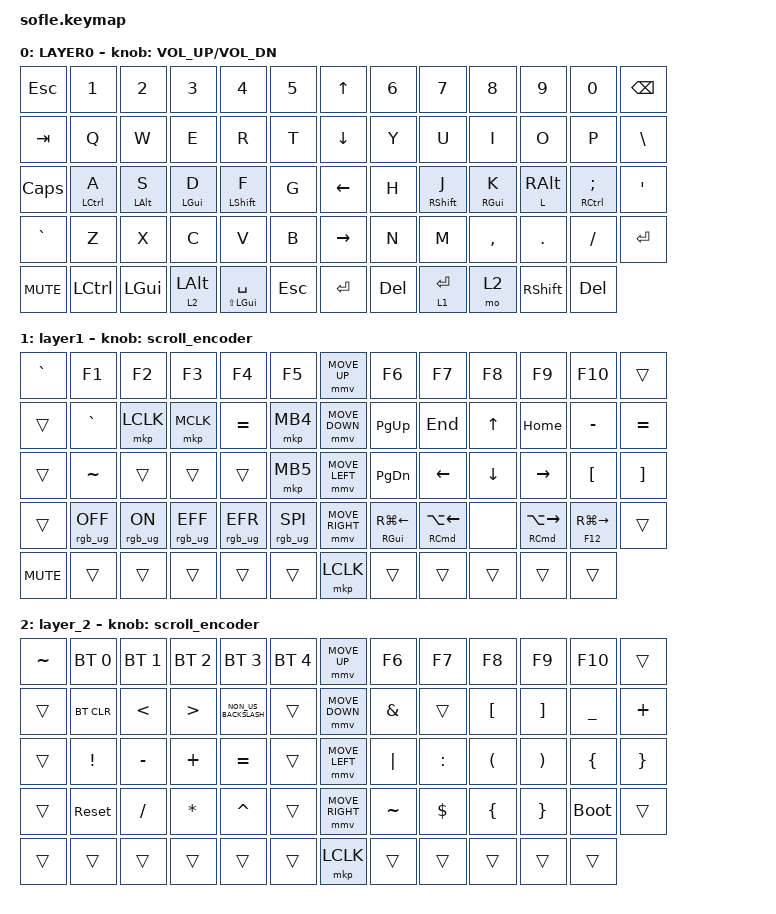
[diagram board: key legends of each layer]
#include <behaviors/mouse_keys.dtsi>
#include <behaviors.dtsi>
#include <dt-bindings/zmk/bt.h>
#include <dt-bindings/zmk/keys.h>
#include <dt-bindings/zmk/mouse.h>
#include <dt-bindings/zmk/rgb.h>

#define ZMK_MOUSE_DEFAULT_MOVE_VAL 1200  // 600
#define ZMK_MOUSE_DEFAULT_SCRL_VAL 20    // 10
#define U_MS_U &mmv MOVE_UP
#define U_MS_D &mmv MOVE_DOWN
#define U_MS_L &mmv MOVE_LEFT
#define U_MS_R &mmv MOVE_RIGHT
#define ZMK_MOUSE_DEFAULT_MOVE_VAL 1200  //  600
#define ZMK_MOUSE_DEFAULT_SCRL_VAL 20    // 10

/ {
    behaviors {
        mmv {
            acceleration-exponent = <1>;      // 1
            time-to-max-speed-ms = <900>;    // 40
            delay-ms = <0>;                   // 0
        };

        msc {
            acceleration-exponent = <1>;      // 0
            time-to-max-speed-ms = <400>;      // 500
            delay-ms = <0>;                   //   10
        };
    };

    scroll_encoder: scroll_encoder {
        compatible = "zmk,behavior-sensor-rotate";
        #sensor-binding-cells = <0>;
        bindings = <&msc SCRL_DOWN>, <&msc SCRL_UP>;

        tap-ms = <30>;
    };

    keymap {
        compatible = "zmk,keymap";

        layer0 {
            bindings = <
&kp ESC     &kp N1       &kp N2          &kp N3          &kp N4                  &kp N5        &kp UP_ARROW     &kp N6   &kp N7             &kp N8           &kp N9           &kp N0          &kp BACKSPACE
&kp TAB     &kp Q        &kp W           &kp E           &kp R                   &kp T         &kp DOWN_ARROW   &kp Y    &kp U              &kp I            &kp O            &kp P           &kp BSLH
&kp CAPS    &mt LCTRL A  &mt LEFT_ALT S  &mt LEFT_GUI D  &mt LEFT_SHIFT F        &kp G         &kp LEFT_ARROW   &kp H    &mt RIGHT_SHIFT J  &mt RIGHT_GUI K  &mt L RIGHT_ALT  &mt RCTRL SEMI  &kp APOS
&kp GRAVE   &kp Z        &kp X           &kp C           &kp V                   &kp B         &kp RIGHT_ARROW  &kp N    &kp M              &kp COMMA        &kp DOT          &kp FSLH        &kp ENTER
&kp C_MUTE  &kp LCTRL    &kp LEFT_GUI    &lt 2 LEFT_ALT  &mt LS(LEFT_GUI) SPACE  &kp ESCAPE    &kp ENTER        &kp DEL  &lt 1 ENTER        &mo 2            &kp RIGHT_SHIFT  &kp DELETE
            >;

            sensor-bindings = <&inc_dec_kp C_VOLUME_UP C_VOL_DN>;
            display-name = "LAYER0";
        };

        layer_1 {
            bindings = <
&kp GRAVE   &kp F1           &kp F2          &kp F3           &kp F4           &kp F5             &mmv MOVE_UP     &kp F6                  &kp F7                      &kp F8    &kp F9                       &kp F10            &trans
&trans      &kp GRAVE        &mkp LCLK       &mkp MCLK        &kp EQUAL        &mkp MB4           &mmv MOVE_DOWN   &kp PG_UP               &kp END                     &kp UP    &kp HOME                     &kp MINUS          &kp EQUAL
&trans      &kp TILDE        &trans          &trans           &trans           &mkp MB5           &mmv MOVE_LEFT   &kp PG_DN               &kp LEFT                    &kp DOWN  &kp RIGHT                    &kp LEFT_BRACKET   &kp RIGHT_BRACKET
&trans      &rgb_ug RGB_OFF  &rgb_ug RGB_ON  &rgb_ug RGB_EFF  &rgb_ug RGB_EFR  &rgb_ug RGB_SPI    &mmv MOVE_RIGHT  &mt RIGHT_GUI RG(LEFT)  &mt RIGHT_COMMAND LA(LEFT)  &none     &mt RIGHT_COMMAND LA(RIGHT)  &mt F12 RG(RIGHT)  &trans
&kp C_MUTE  &trans           &trans          &trans           &trans           &trans             &mkp LCLK        &trans                  &trans                      &trans    &trans                       &trans
            >;

            display-name = "layer1";
            sensor-bindings = <&scroll_encoder>;
        };

        layer_2 {
            bindings = <
&kp TILDE  &bt BT_SEL 0     &bt BT_SEL 1   &bt BT_SEL 2      &bt BT_SEL 3          &bt BT_SEL 4    &mmv MOVE_UP     &kp F6         &kp F7      &kp F8                &kp F9                 &kp F10      &trans
&trans     &bt BT_CLR       &kp LESS_THAN  &kp GREATER_THAN  &kp NON_US_BACKSLASH  &trans          &mmv MOVE_DOWN   &kp AMPERSAND  &trans      &kp LEFT_BRACKET      &kp RIGHT_BRACKET      &kp UNDER    &kp PLUS
&trans     &kp EXCLAMATION  &kp MINUS      &kp PLUS          &kp EQUAL             &trans          &mmv MOVE_LEFT   &kp PIPE       &kp COLON   &kp LEFT_PARENTHESIS  &kp RIGHT_PARENTHESIS  &kp LBRC     &kp RBRC
&trans     &sys_reset       &kp SLASH      &kp ASTERISK      &kp CARET             &trans          &mmv MOVE_RIGHT  &kp TILDE      &kp DOLLAR  &kp LEFT_BRACE        &kp RIGHT_BRACE        &bootloader  &trans
&trans     &trans           &trans         &trans            &trans                &trans          &mkp LCLK        &trans         &trans      &trans                &trans                 &trans
            >;

            sensor-bindings = <&scroll_encoder>;
        };
    };
};
